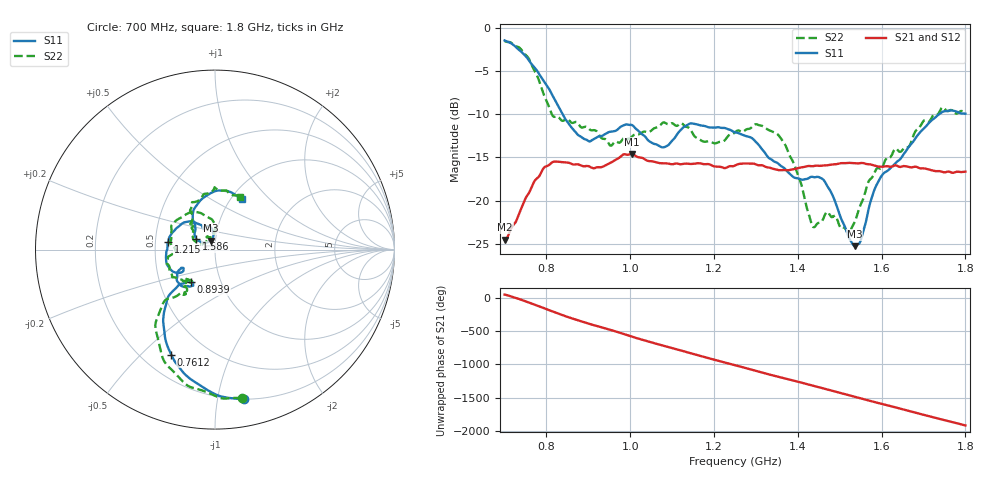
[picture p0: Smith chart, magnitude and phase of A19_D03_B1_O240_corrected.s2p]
! Created with skrf 1.9.0 (http://scikit-rf.org).
# Hz S RI R 50.0
!freq ReS11 ImS11 ReS21 ImS21 ReS12 ImS12 ReS22 ImS22
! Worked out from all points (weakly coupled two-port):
!   1601 points, 700 MHz to 1.8 GHz, reference 50 ohm
!   highest |S21| = -14.58 dB at 1.004 GHz (marker M1); lowest = -24.5 dB at 701.4 MHz (marker M2)
!   lowest |S11| = -25.3 dB at 1.536 GHz (marker M3), VSWR 1.12, Z = 47.5 + j4.68 ohm
!   |S11| at or under -10 dB: 838.5 MHz to 1.736 GHz (897.9 MHz wide, 69.7 % of centre)
!   |S22| runs from -23.8 to -1.5 dB; largest |S21 - S12| = 0.0035
!   S11 on the Smith chart (normalised r, x): 700 MHz: 0.20, -1.19; 761.2 MHz: 0.32, -0.62; 893.9 MHz: 0.72, -0.28; 1.215 GHz: 0.58, +0.06; 1.586 GHz: 0.80, +0.10; 1.8 GHz: 1.13, +0.70
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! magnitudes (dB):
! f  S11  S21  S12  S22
! 700 MHz  -1.4  -24.5  -24.3  -1.5
! 701.4 MHz  -1.5  -24.5  -24.2  -1.5
! 761.2 MHz  -4.0  -18.8  -18.7  -3.9
! 814.8 MHz  -7.8  -15.5  -15.6  -10.2
! 883.6 MHz  -12.6  -15.9  -15.8  -11.5
! 893.9 MHz  -12.9  -16.0  -16.1  -11.4
! 953 MHz  -12.0  -15.6  -15.6  -13.6
! 1.004 GHz  -11.2  -14.6  -14.7  -12.6
! 1.067 GHz  -13.6  -15.6  -15.6  -11.4
! 1.143 GHz  -11.1  -15.7  -15.7  -11.7
! 1.215 GHz  -11.5  -16.1  -16.1  -13.2
! 1.25 GHz  -12.1  -15.9  -15.9  -12.1
! 1.355 GHz  -15.8  -16.5  -16.4  -12.5
! 1.394 GHz  -17.4  -16.3  -16.3  -16.1
! 1.434 GHz  -17.2  -16.0  -16.0  -22.8
! 1.466 GHz  -17.9  -15.9  -15.9  -21.5
! 1.52 GHz  -24.1  -15.6  -15.6  -23.8
! 1.536 GHz  -25.3  -15.7  -15.7  -22.5
! 1.586 GHz  -18.4  -16.0  -16.0  -16.4
! 1.617 GHz  -16.4  -16.1  -16.0  -15.1
! 1.739 GHz  -9.9  -16.6  -16.6  -9.6
! 1.8 GHz  -9.9  -16.6  -16.6  -9.8
